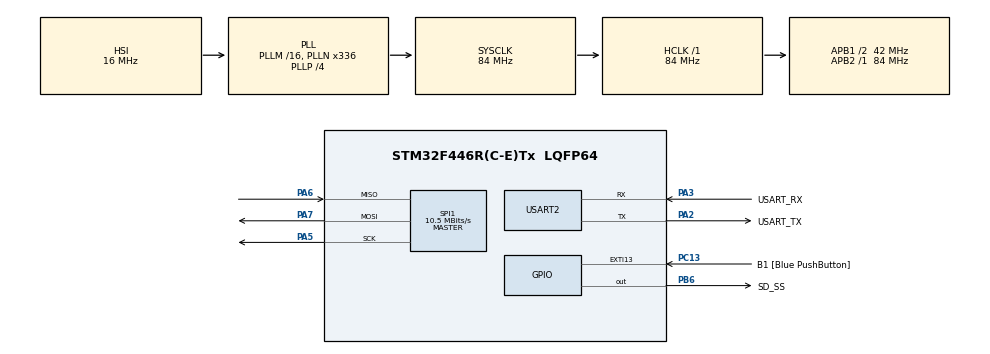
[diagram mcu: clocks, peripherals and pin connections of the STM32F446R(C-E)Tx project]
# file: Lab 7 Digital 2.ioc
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FATFS._MAX_SS=4096
FATFS._USE_LFN=1
Mcu.Family=STM32F4
Mcu.Name=STM32F446R(C-E)Tx
Mcu.Package=LQFP64
NVIC.PriorityGroup=NVIC_PRIORITYGROUP_0
NVIC.SPI1_IRQn=true\:0\:0\:false\:false\:true\:true\:true\:true
NVIC.USART2_IRQn=true\:0\:0\:false\:false\:true\:true\:true\:true
PA13.GPIO_Label=TMS
PA13.Mode=Serial_Wire
PA13.Signal=SYS_JTMS-SWDIO
PA14.GPIO_Label=TCK
PA14.Mode=Serial_Wire
PA14.Signal=SYS_JTCK-SWCLK
PA2.GPIO_Label=USART_TX
PA2.Mode=Asynchronous
PA2.Signal=USART2_TX
PA3.GPIO_Label=USART_RX
PA3.Mode=Asynchronous
PA3.Signal=USART2_RX
PA5.Mode=Full_Duplex_Master
PA5.Signal=SPI1_SCK
PA6.Mode=Full_Duplex_Master
PA6.Signal=SPI1_MISO
PA7.Mode=Full_Duplex_Master
PA7.Signal=SPI1_MOSI
PB3.GPIO_Label=SWO
PB3.Signal=SYS_JTDO-SWO
PB6.GPIO_Label=SD_SS
PB6.GPIO_Speed=GPIO_SPEED_FREQ_MEDIUM
PB6.PinState=GPIO_PIN_SET
PB6.Signal=GPIO_Output
PC13.GPIO_Label=B1 [Blue PushButton]
PC13.GPIO_ModeDefaultEXTI=GPIO_MODE_IT_FALLING
PC13.Signal=GPXTI13
PC14-OSC32_IN.Mode=LSE-External-Oscillator
PC14-OSC32_IN.Signal=RCC_OSC32_IN
PC15-OSC32_OUT.Mode=LSE-External-Oscillator
PC15-OSC32_OUT.Signal=RCC_OSC32_OUT
PH0-OSC_IN.Mode=HSE-External-Oscillator
PH0-OSC_IN.Signal=RCC_OSC_IN
PH1-OSC_OUT.Mode=HSE-External-Oscillator
PH1-OSC_OUT.Signal=RCC_OSC_OUT
ProjectManager.HeapSize=0x200
ProjectManager.StackSize=0x400
ProjectManager.TargetToolchain=STM32CubeIDE
RCC.48MHZClocksFreq_Value=84000000
RCC.AHBFreq_Value=84000000
RCC.APB1CLKDivider=RCC_HCLK_DIV2
RCC.APB1Freq_Value=42000000
RCC.APB1TimFreq_Value=84000000
RCC.APB2Freq_Value=84000000
RCC.APB2TimFreq_Value=84000000
RCC.CortexFreq_Value=84000000
RCC.FLatency-AdvancedSettings=FLASH_LATENCY_2
RCC.HCLKFreq_Value=84000000
RCC.HSE_VALUE=8000000
RCC.HSI_VALUE=16000000
RCC.PLLN=336
RCC.PLLP=RCC_PLLP_DIV4
RCC.SYSCLKFreq_VALUE=84000000
RCC.SYSCLKSource=RCC_SYSCLKSOURCE_PLLCLK
RCC.USBFreq_Value=168000000
RCC.VCOOutputFreq_Value=336000000
SPI1.BaudRatePrescaler=SPI_BAUDRATEPRESCALER_8
SPI1.CalculateBaudRate=10.5 MBits/s
SPI1.Direction=SPI_DIRECTION_2LINES
SPI1.Mode=SPI_MODE_MASTER
SPI1.VirtualType=VM_MASTER
USART2.VirtualMode=VM_ASYNC
VP_FATFS_VS_Generic.Mode=User_defined
board=NUCLEO-F446RE

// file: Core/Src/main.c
/* USER CODE BEGIN Header */
/**
  ******************************************************************************
//UNIVERSIDAD DEL VALLE DE GUATEMALA
//IE3054: Electrónica Digital 2
//Archivo: Laboratorio 7 – Almacenamiento SD
//AUTOR: Christian Quelex
//Laboratorio 7
//HARDWARE: STEM32 - NUCELO 64
  ******************************************************************************
  */
/* USER CODE END Header */
#include "main.h"
#include "fatfs.h"

/* USER CODE BEGIN Includes */
#include "fatfs_sd.h"
#include "string.h"
#include "stdio.h"
#include <stdio.h>
#include <string.h>
/* USER CODE END Includes */

/* USER CODE BEGIN PD */
SPI_HandleTypeDef hspi1;
FATFS fs;
FATFS *pfs;
FIL fil;
FRESULT fres;
DWORD fre_clust;
uint32_t totalSpace, freeSpace;
char buffer[100];
/* USER CODE END PD */

SPI_HandleTypeDef hspi1;

UART_HandleTypeDef huart2;

/* USER CODE BEGIN PV */
//	---> Configuracion de las variables
char received;			// Selección del usuario
int salida = 0;			//Se configura la variable de salida
/* USER CODE END PV */

void SystemClock_Config(void);
static void MX_GPIO_Init(void);
static void MX_USART2_UART_Init(void);
static void MX_SPI1_Init(void);

/* USER CODE BEGIN 0 */
// Función para enviar texto por UART
void transmit_uart(char *string) {
	uint8_t len = strlen(string);
	HAL_UART_Transmit(&huart2, (uint8_t*) string, len, 200);
}

// Función para probar comunicación SPI
void test_spi_communication(void) {
    transmit_uart("\n--- TEST COMUNICACION SPI ---\n");

    // Configurar CS como output
    HAL_GPIO_WritePin(SD_SS_GPIO_Port, SD_SS_Pin, GPIO_PIN_SET);
    HAL_Delay(10);

    // Test 1: Enviar bytes de prueba por SPI
    uint8_t test_byte = 0xFF;
    uint8_t received_byte = 0;

    HAL_GPIO_WritePin(SD_SS_GPIO_Port, SD_SS_Pin, GPIO_PIN_RESET);
    HAL_Delay(1);

    HAL_SPI_TransmitReceive(&hspi1, &test_byte, &received_byte, 1, 100);

    HAL_GPIO_WritePin(SD_SS_GPIO_Port, SD_SS_Pin, GPIO_PIN_SET);

    char spi_msg[100];
    sprintf(spi_msg, "SPI Test - Enviado: 0x%02X, Recibido: 0x%02X\n", test_byte, received_byte);
    transmit_uart(spi_msg);

    if (received_byte == 0xFF) {
        transmit_uart("✓ Comunicacion SPI funcionando\n");
    } else {
        transmit_uart("✗ Problema con comunicacion SPI\n");
    }

    transmit_uart("--- FIN TEST SPI ---\n");
}

// Función para verificar el estado de la SD a bajo nivel
int check_sd_status(void) {
    transmit_uart("Inicializando disco...\n");
    DSTATUS status = disk_initialize(0);

    char status_msg[100];
    sprintf(status_msg, "Estado disco: %d\n", status);
    transmit_uart(status_msg);

    if (status == 0) {
        transmit_uart("✓ Disco inicializado correctamente\n");
        return 1;
    } else if (status & STA_NOINIT) {
        transmit_uart("✗ Disco NO inicializado\n");
        return 0;
    } else if (status & STA_NODISK) {
        transmit_uart("✗ No hay disco presente\n");
        return 0;
    } else if (status & STA_PROTECT) {
        transmit_uart("✗ Disco protegido contra escritura\n");
        return 0;
    } else {
        transmit_uart("✗ Error desconocido del disco\n");
        return 0;
    }
}

//Función para desplegar las opciones dle Menu
void menu() {
	transmit_uart("\n=== MENU PRINCIPAL ===\n");
    transmit_uart("1. Leer dibujo1.txt\n");
    transmit_uart("2. Leer dibujo2.txt\n");
    transmit_uart("3. Leer dibujo3.txt\n");
    transmit_uart("4. Diagnostico completo SD\n");
    transmit_uart("5. Reinicializar SD\n");
    transmit_uart("6. Test Hardware SPI\n");
    transmit_uart("7. Salir\n");
    transmit_uart("Selecciona una opcion: ");
}

// Función para leer un archivo de texto desde la SD y enviarlo por UART
void read_text_file(const char *filename) {
    char full_filename[50];
    sprintf(full_filename, "%s.txt", filename);

    transmit_uart("\nIntentando abrir: ");
    transmit_uart(full_filename);
    transmit_uart("\n");

    // Verificar primero que la SD esté lista
    if (!check_sd_status()) {
        transmit_uart("ERROR: SD no esta lista. Use opcion 5 para reinicializar.\n");
        return;
    }

    fres = f_open(&fil, full_filename, FA_READ);
    if (fres == FR_OK) {
        transmit_uart("✓ Archivo abierto correctamente\n");
        transmit_uart("=== CONTENIDO ===\n");

        // Leer y mostrar el contenido del archivo
        while (f_gets(buffer, sizeof(buffer), &fil) != NULL) {
            transmit_uart(buffer);
        }

        fres = f_close(&fil);
        if (fres == FR_OK) {
            transmit_uart("\n✓ Archivo cerrado correctamente\n");
        } else {
            char error_msg[50];
            sprintf(error_msg, "\n✗ Error al cerrar archivo: %d\n", fres);
            transmit_uart(error_msg);
        }
    } else {
        char error_msg[100];
        sprintf(error_msg, "✗ Error al abrir archivo: %d\n", fres);
        transmit_uart(error_msg);
    }
    transmit_uart("=== FIN ARCHIVO ===\n");
}

// Función para diagnosticar completamente la SD
void full_sd_diagnostic(void) {
    transmit_uart("\n*** DIAGNOSTICO COMPLETO SD ***\n");

    // 1. Test comunicación SPI
    test_spi_communication();

    // 2. Verificar estado físico del disco
    transmit_uart("\n1. VERIFICACION FISICA DEL DISCO:\n");
    if (check_sd_status()) {
        transmit_uart("✓ SD detectada fisicamente\n");
    } else {
        transmit_uart("✗ FALLA: SD no detectada fisicamente\n");
        transmit_uart("SOLUCIONES:\n");
        transmit_uart("1. Verifique que la SD este INSERTADA correctamente\n");
        transmit_uart("2. Verifique conexiones del modulo SD\n");
        transmit_uart("3. Verifique que la SD este FORMATEADA en FAT32\n");
        transmit_uart("4. Use la opcion 6 para test de hardware\n");
        return;
    }

    // 3. Verificar montaje del sistema de archivos
    transmit_uart("\n2. SISTEMA DE ARCHIVOS:\n");
    fres = f_mount(&fs, "", 1);
    if (fres == FR_OK) {
        transmit_uart("✓ Sistema de archivos montado\n");
    } else {
        char error_msg[100];
        sprintf(error_msg, "✗ FALLA: Error montando sistema de archivos: %d\n", fres);
        transmit_uart(error_msg);

        if (fres == FR_NO_FILESYSTEM) {
            transmit_uart("   - La SD no tiene sistema de archivos FAT32\n");
            transmit_uart("   - FORMATEE la SD en FAT32 desde una computadora\n");
        } else if (fres == FR_NOT_READY) {
            transmit_uart("   - El disco no esta listo\n");
            transmit_uart("   - Verifique conexiones de alimentacion\n");
        }
        return;
    }

    // 4. Verificar espacio
    transmit_uart("\n3. ESPACIO EN DISCO:\n");
    FATFS *fs_ptr = &fs;
    fres = f_getfree("", &fre_clust, &fs_ptr);
    if (fres == FR_OK) {
        totalSpace = (uint32_t)((fs_ptr->n_fatent - 2) * fs_ptr->csize * 0.5);
        freeSpace = (uint32_t)(fre_clust * fs_ptr->csize * 0.5);

        char space_info[100];
        sprintf(space_info, "✓ Total: %lu KB, Libre: %lu KB\n", totalSpace, freeSpace);
        transmit_uart(space_info);
    } else {
        transmit_uart("✗ Error verificando espacio\n");
    }

    // 5. Verificar archivos
    transmit_uart("\n4. VERIFICACION DE ARCHIVOS:\n");
    const char* test_files[] = {"dibujo1.txt", "dibujo2.txt", "dibujo3.txt"};
    int files_found = 0;

    for (int i = 0; i < 3; i++) {
        FIL file;
        FRESULT file_result = f_open(&file, test_files[i], FA_READ);
        if (file_result == FR_OK) {
            char msg[50];
            sprintf(msg, "✓ %s encontrado\n", test_files[i]);
            transmit_uart(msg);
            f_close(&file);
            files_found++;
        } else {
            char msg[50];
            sprintf(msg, "✗ %s no encontrado (Error: %d)\n", test_files[i], file_result);
            transmit_uart(msg);
        }
    }

    transmit_uart("\n*** FIN DIAGNOSTICO ***\n");
}

// Función para reinicializar la SD
void reinitialize_sd(void) {
    transmit_uart("\n*** REINICIALIZANDO SD ***\n");

    // 1. Desmontar si estaba montado
    f_mount(NULL, "", 0);
    transmit_uart("1. Sistema desmontado\n");

    // 2. Pequeña pausa
    HAL_Delay(1000);
    transmit_uart("2. Esperando 1 segundo...\n");

    // 3. Reinicializar disco a bajo nivel
    transmit_uart("3. Reinicializando disco...\n");

    // Intentar múltiples veces
    int attempts = 0;
    DSTATUS disk_status;

    for (attempts = 0; attempts < 5; attempts++) {
        disk_status = disk_initialize(0);
        if (disk_status == 0) {
            transmit_uart("✓ Disco reinicializado correctamente\n");
            break;
        }
        HAL_Delay(500);
    }

    if (disk_status != 0) {
        transmit_uart("✗ Error reinicializando disco despues de 5 intentos\n");
        transmit_uart("   Verifique conexiones fisicas de la SD\n");
        return;
    }

    // 4. Remontar sistema de archivos
    transmit_uart("4. Montando sistema de archivos...\n");
    fres = f_mount(&fs, "", 1);

    if (fres == FR_OK) {
        transmit_uart("✓ Sistema de archivos montado\n");
        transmit_uart("✓ SD lista para usar\n");
    } else {
        char error_msg[100];
        sprintf(error_msg, "✗ Error montando sistema: %d\n", fres);
        transmit_uart(error_msg);
    }

    transmit_uart("*** FIN REINICIALIZACION ***\n");
}
/* USER CODE END 0 */

int main(void)
{

  /* MCU Configuration--------------------------------------------------------*/

  /* Reset of all peripherals, Initializes the Flash interface and the Systick. */
  HAL_Init();

  /* Configure the system clock */
  SystemClock_Config();

  /* Initialize all configured peripherals */
  MX_GPIO_Init();
  MX_USART2_UART_Init();
  MX_SPI1_Init();
  MX_FATFS_Init();
  /* USER CODE BEGIN 2 */
  // Esperar inicialización de hardware
  HAL_Delay(2000);

  transmit_uart("\n\n========================================\n");
  transmit_uart("LABORATORIO 7 - SISTEMA DE ARCHIVOS SD\n");
  transmit_uart("========================================\n");
  transmit_uart("Inicializando sistema...\n");

  // Dar tiempo para que el hardware se estabilice
  transmit_uart("Esperando inicializacion de hardware...\n");
  HAL_Delay(1000);

  /* USER CODE END 2 */

  /* Infinite loop */
  /* USER CODE BEGIN WHILE */
  while (1)
  {
	 menu();

	 //Se espera hasta que el usuario ingrese opción
	 HAL_UART_Receive(&huart2, (uint8_t*)&received, 1, HAL_MAX_DELAY);

	 switch (received) {
	 	 case '1':
	 	     read_text_file("dibujo1");
	 	     break;

	 	 case '2':
	 	     read_text_file("dibujo2");
	 	     break;

	 	 case '3':
	 	    read_text_file("dibujo3");
	 	    break;

	 	 case '4':
	 	    full_sd_diagnostic();
	 	    break;

	 	 case '5':
	 	    reinitialize_sd();
	 	    break;

	 	 case '6':
	 	    test_spi_communication();
	 	    break;

	 	 case '7':
	 	    transmit_uart("\nSaliendo del sistema...\n");
	 	    f_mount(NULL, "", 1);
	 	    transmit_uart("SD desmontada. Sistema finalizado.\n");
	 	    while(1) {
	 	        HAL_Delay(1000);
	 	    }
	 	    break;

	 	 default:
	 	     transmit_uart("\nOpcion Invalida. Ingresa 1-7\n");
	 }

	 // Pequeña pausa antes de mostrar el menú again
	 HAL_Delay(100);

	 //Se reinicia la opción del Usuario
	 received = 0;

    /* USER CODE END WHILE */

  }
}

void SystemClock_Config(void)
{
  RCC_OscInitTypeDef RCC_OscInitStruct = {0};
  RCC_ClkInitTypeDef RCC_ClkInitStruct = {0};

  /** Configure the main internal regulator output voltage
  */
  __HAL_RCC_PWR_CLK_ENABLE();
  __HAL_PWR_VOLTAGESCALING_CONFIG(PWR_REGULATOR_VOLTAGE_SCALE3);

  /** Initializes the RCC Oscillators according to the specified parameters
  * in the RCC_OscInitTypeDef structure.
  */
  RCC_OscInitStruct.OscillatorType = RCC_OSCILLATORTYPE_HSI;
  RCC_OscInitStruct.HSIState = RCC_HSI_ON;
  RCC_OscInitStruct.HSICalibrationValue = RCC_HSICALIBRATION_DEFAULT;
  RCC_OscInitStruct.PLL.PLLState = RCC_PLL_ON;
  RCC_OscInitStruct.PLL.PLLSource = RCC_PLLSOURCE_HSI;
  RCC_OscInitStruct.PLL.PLLM = 16;
  RCC_OscInitStruct.PLL.PLLN = 336;
  RCC_OscInitStruct.PLL.PLLP = RCC_PLLP_DIV4;
  RCC_OscInitStruct.PLL.PLLQ = 2;
  RCC_OscInitStruct.PLL.PLLR = 2;
  if (HAL_RCC_OscConfig(&RCC_OscInitStruct) != HAL_OK)
  {
    Error_Handler();
  }

  /** Initializes the CPU, AHB and APB buses clocks
  */
  RCC_ClkInitStruct.ClockType = RCC_CLOCKTYPE_HCLK|RCC_CLOCKTYPE_SYSCLK
                              |RCC_CLOCKTYPE_PCLK1|RCC_CLOCKTYPE_PCLK2;
  RCC_ClkInitStruct.SYSCLKSource = RCC_SYSCLKSOURCE_PLLCLK;
  RCC_ClkInitStruct.AHBCLKDivider = RCC_SYSCLK_DIV1;
  RCC_ClkInitStruct.APB1CLKDivider = RCC_HCLK_DIV2;
  RCC_ClkInitStruct.APB2CLKDivider = RCC_HCLK_DIV1;

  if (HAL_RCC_ClockConfig(&RCC_ClkInitStruct, FLASH_LATENCY_2) != HAL_OK)
  {
    Error_Handler();
  }
}

static void MX_SPI1_Init(void)
{

  /* SPI1 parameter configuration*/
  hspi1.Instance = SPI1;
  hspi1.Init.Mode = SPI_MODE_MASTER;
  hspi1.Init.Direction = SPI_DIRECTION_2LINES;
  hspi1.Init.DataSize = SPI_DATASIZE_8BIT;
  hspi1.Init.CLKPolarity = SPI_POLARITY_LOW;
  hspi1.Init.CLKPhase = SPI_PHASE_1EDGE;
  hspi1.Init.NSS = SPI_NSS_SOFT;
  hspi1.Init.BaudRatePrescaler = SPI_BAUDRATEPRESCALER_8;
  hspi1.Init.FirstBit = SPI_FIRSTBIT_MSB;
  hspi1.Init.TIMode = SPI_TIMODE_DISABLE;
  hspi1.Init.CRCCalculation = SPI_CRCCALCULATION_DISABLE;
  hspi1.Init.CRCPolynomial = 10;
  if (HAL_SPI_Init(&hspi1) != HAL_OK)
  {
    Error_Handler();
  }

}

static void MX_USART2_UART_Init(void)
{

  huart2.Instance = USART2;
  huart2.Init.BaudRate = 115200;
  huart2.Init.WordLength = UART_WORDLENGTH_8B;
  huart2.Init.StopBits = UART_STOPBITS_1;
  huart2.Init.Parity = UART_PARITY_NONE;
  huart2.Init.Mode = UART_MODE_TX_RX;
  huart2.Init.HwFlowCtl = UART_HWCONTROL_NONE;
  huart2.Init.OverSampling = UART_OVERSAMPLING_16;
  if (HAL_UART_Init(&huart2) != HAL_OK)
  {
    Error_Handler();
  }

}

static void MX_GPIO_Init(void)
{
  GPIO_InitTypeDef GPIO_InitStruct = {0};

  /* GPIO Ports Clock Enable */
  __HAL_RCC_GPIOC_CLK_ENABLE();
  __HAL_RCC_GPIOH_CLK_ENABLE();
  __HAL_RCC_GPIOA_CLK_ENABLE();
  __HAL_RCC_GPIOB_CLK_ENABLE();

  /*Configure GPIO pin Output Level */
  HAL_GPIO_WritePin(SD_SS_GPIO_Port, SD_SS_Pin, GPIO_PIN_SET);

  /*Configure GPIO pin : B1_Pin */
  GPIO_InitStruct.Pin = B1_Pin;
  GPIO_InitStruct.Mode = GPIO_MODE_IT_FALLING;
  GPIO_InitStruct.Pull = GPIO_NOPULL;
  HAL_GPIO_Init(B1_GPIO_Port, &GPIO_InitStruct);

  /*Configure GPIO pin : SD_SS_Pin */
  GPIO_InitStruct.Pin = SD_SS_Pin;
  GPIO_InitStruct.Mode = GPIO_MODE_OUTPUT_PP;
  GPIO_InitStruct.Pull = GPIO_NOPULL;
  GPIO_InitStruct.Speed = GPIO_SPEED_FREQ_MEDIUM;
  HAL_GPIO_Init(SD_SS_GPIO_Port, &GPIO_InitStruct);

}

void Error_Handler(void)
{
  __disable_irq();
  while (1)
  {
  }
}
